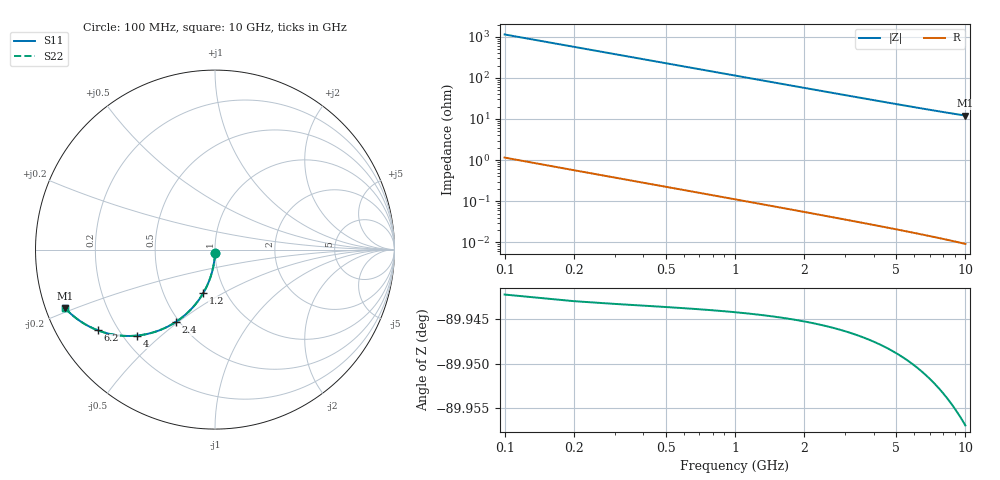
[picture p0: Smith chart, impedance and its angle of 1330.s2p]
# Hz S RI R 50.00
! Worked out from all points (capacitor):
!   100 points, 100 MHz to 10 GHz, reference 50 ohm
!   read as one part in shunt: C = 1.39 pF near 100 MHz
!   lowest |Z| = 12.1 ohm at 10 GHz (marker M1)
!   S11 on the Smith chart (normalised r, x): 100 MHz: 1.00, -0.04; 1.2 GHz: 0.79, -0.40; 2.4 GHz: 0.48, -0.49; 4 GHz: 0.25, -0.42; 6.2 GHz: 0.13, -0.31; 10 GHz: 0.06, -0.19
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1e8  -0.000401 -0.0214  0.9994 -0.0222  0.9994 -0.0222  -0.000401 -0.0214
2e8  -0.00185 -0.0428  0.998 -0.0444  0.998 -0.0444  -0.00185 -0.0428
3e8  -0.00424 -0.0641  0.9956 -0.0665  0.9956 -0.0665  -0.00424 -0.0641
4e8  -0.00756 -0.0851  0.9922 -0.0883  0.9922 -0.0883  -0.00756 -0.0851
5e8  -0.0118 -0.1059  0.988 -0.11  0.988 -0.11  -0.0118 -0.1059
6e8  -0.0169 -0.1264  0.9829 -0.1313  0.9829 -0.1313  -0.0169 -0.1264
7e8  -0.0229 -0.1466  0.9769 -0.1522  0.9769 -0.1522  -0.0229 -0.1466
9e8  -0.0373 -0.1857  0.9625 -0.1929  0.9625 -0.1929  -0.0373 -0.1857
1.2e9  -0.0645 -0.2405  0.9353 -0.2502  0.9353 -0.2502  -0.0645 -0.2405
1.5e9  -0.0972 -0.2899  0.9025 -0.302  0.9025 -0.302  -0.0972 -0.2899
1.8e9  -0.1343 -0.3334  0.8654 -0.3479  0.8654 -0.3479  -0.1343 -0.3334
2.1e9  -0.1745 -0.3707  0.8252 -0.3876  0.8252 -0.3876  -0.1745 -0.3707
2.4e9  -0.2164 -0.4017  0.7832 -0.4212  0.7832 -0.4212  -0.2164 -0.4017
2.9e9  -0.2877 -0.4405  0.7118 -0.464  0.7118 -0.464  -0.2877 -0.4405
3.4e9  -0.3574 -0.465  0.642 -0.4926  0.642 -0.4926  -0.3574 -0.465
4e9  -0.4355 -0.4791  0.5637 -0.5117  0.5637 -0.5117  -0.4355 -0.4791
5.1e9  -0.5577 -0.4752  0.4412 -0.517  0.4412 -0.517  -0.5577 -0.4752
6.2e9  -0.6523 -0.4499  0.3462 -0.5011  0.3462 -0.5011  -0.6523 -0.4499
6.7e9  -0.6873 -0.435  0.311 -0.4904  0.311 -0.4904  -0.6873 -0.435
7.5e9  -0.7347 -0.4092  0.2631 -0.4716  0.2631 -0.4716  -0.7347 -0.4092
8.4e9  -0.7776 -0.3792  0.2197 -0.4496  0.2197 -0.4496  -0.7776 -0.3792
1e10  -0.8338 -0.3275  0.1624 -0.4125  0.1624 -0.4125  -0.8338 -0.3275
